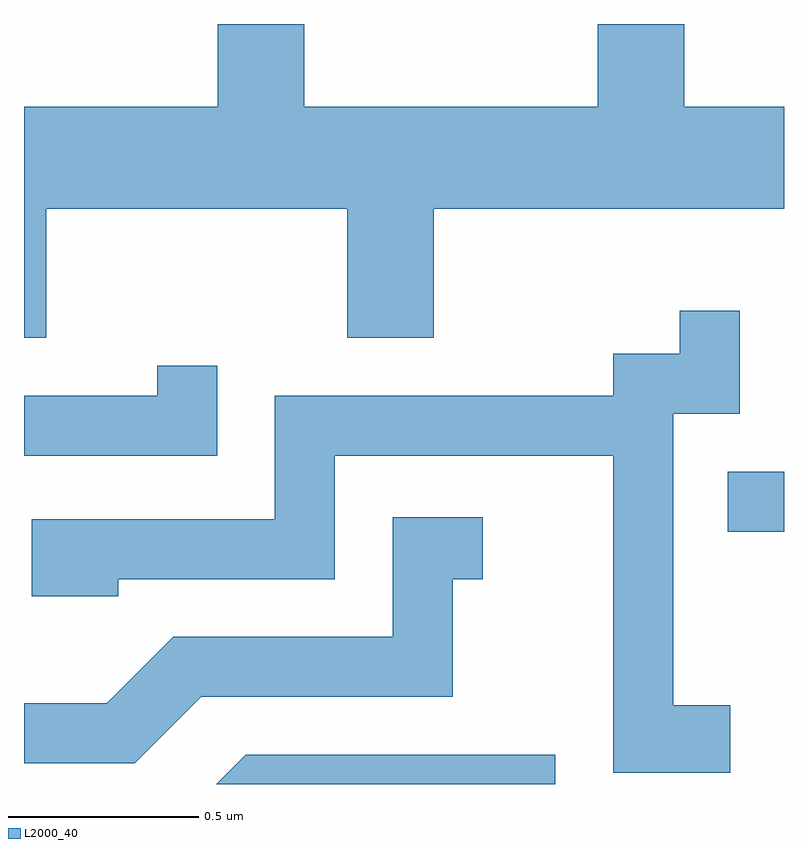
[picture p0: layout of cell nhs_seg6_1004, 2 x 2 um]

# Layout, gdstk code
import gdstk
lib = gdstk.Library(unit=1e-6, precision=1e-09)
def R(c, l, rs):  # rectangles x0, y0, x1, y1
    for r in rs: c.add(gdstk.rectangle(r[:2], r[2:], *l))
def P(c, l, *ps):  # polygons
    for p in ps: c.add(gdstk.Polygon(p, *l))
L2000_40 = (2000, 40)

nhs_seg6_1004 = lib.new_cell('nhs_seg6_1004')
R(nhs_seg6_1004, L2000_40, [(194.463,1575.826,194.611,1575.984)])
P(nhs_seg6_1004, L2000_40, [(192.669,1576.676),(193.461,1576.676),(193.461,1576.336),(193.689,1576.336),(193.689,1576.676),(194.611,1576.676),(194.611,1576.944),(194.349,1576.944),(194.349,1577.162),(194.121,1577.162),(194.121,1576.944),(193.349,1576.944),(193.349,1577.162),(193.121,1577.162),(193.121,1576.944),(192.611,1576.944),(192.611,1576.336),(192.669,1576.336)],
  [(194.469,1575.369),(194.319,1575.369),(194.319,1576.136),(194.494,1576.136),(194.494,1576.408),(194.336,1576.408),(194.336,1576.294),(194.161,1576.294),(194.161,1576.184),(193.271,1576.184),(193.271,1575.859),(192.631,1575.859),(192.631,1575.656),(192.859,1575.656),(192.859,1575.701),(193.429,1575.701),(193.429,1576.026),(194.161,1576.026),(194.161,1575.191),(194.469,1575.191)],
  [(193.119,1576.263),(192.961,1576.263),(192.961,1576.184),(192.611,1576.184),(192.611,1576.026),(193.119,1576.026)],
  [(193.077,1575.391),(193.739,1575.391),(193.739,1575.701),(193.818,1575.701),(193.818,1575.864),(193.581,1575.864),(193.581,1575.549),(193.004,1575.549),(192.829,1575.374),(192.611,1575.374),(192.611,1575.216),(192.902,1575.216)],
  [(194.009,1575.239),(193.194,1575.239),(193.117,1575.162),(194.009,1575.162)])

lib.write_gds('nhs_seg6_1004.gds')
